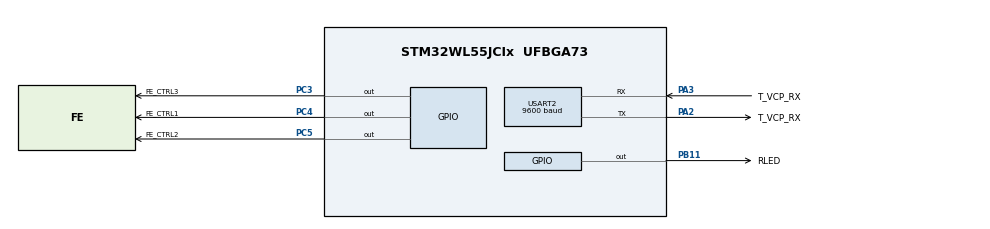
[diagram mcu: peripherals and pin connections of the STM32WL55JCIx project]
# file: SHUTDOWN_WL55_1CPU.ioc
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Mcu.Family=STM32WL
Mcu.Name=STM32WL55JCIx
Mcu.Package=UFBGA73
NVIC.PriorityGroup=NVIC_PRIORITYGROUP_4
NVIC.RTC_WKUP_IRQn=true\:0\:0\:false\:false\:true\:true\:true\:true
PA2.GPIO_Label=T_VCP_RX
PA2.Mode=Asynchronous
PA2.Signal=USART2_TX
PA3.GPIO_Label=T_VCP_RX
PA3.Mode=Asynchronous
PA3.Signal=USART2_RX
PB11.GPIO_Label=RLED
PB11.Signal=GPIO_Output
PC14-OSC32_IN.GPIO_Label=RCC_OSC32_IN
PC14-OSC32_IN.Mode=LSE-External-Oscillator
PC14-OSC32_IN.Signal=RCC_OSC32_IN
PC15-OSC32_OUT.GPIO_Label=RCC_OSC32_OUT
PC15-OSC32_OUT.Mode=LSE-External-Oscillator
PC15-OSC32_OUT.Signal=RCC_OSC32_OUT
PC3.GPIO_Label=FE_CTRL3
PC3.GPIO_Speed=GPIO_SPEED_FREQ_VERY_HIGH
PC3.Signal=GPIO_Output
PC4.GPIO_Label=FE_CTRL1
PC4.GPIO_Speed=GPIO_SPEED_FREQ_VERY_HIGH
PC4.Signal=GPIO_Output
PC5.GPIO_Label=FE_CTRL2
PC5.GPIO_Speed=GPIO_SPEED_FREQ_VERY_HIGH
PC5.Signal=GPIO_Output
ProjectManager.HeapSize=0x200
ProjectManager.StackSize=0x400
ProjectManager.TargetToolchain=STM32CubeIDE
RCC.AHBFreq_Value=48000000
RCC.APB1Freq_Value=48000000
RCC.APB1TimFreq_Value=48000000
RCC.APB2Freq_Value=48000000
RCC.APB2TimFreq_Value=48000000
RCC.APB3Freq_Value=48000000
RCC.CortexFreq_Value=48000000
RCC.HCLKFreq_Value=48000000
RCC.HSE_VALUE=32000000
RCC.HSI_VALUE=16000000
RCC.LSE_VALUE=32768
RCC.MSIAutoCalibration=DISABLED
RCC.PLLN=24
RCC.RTCClockSelection=RCC_RTCCLKSOURCE_LSE
RCC.SYSCLKFreq_VALUE=48000000
RCC.SYSCLKSource=RCC_SYSCLKSOURCE_PLLCLK
RCC.VCOOutputFreq_Value=96000000
RTC.WakeUpCounter-WakeUp=0x2800
USART2.BaudRate=9600
USART2.VirtualMode-Asynchronous=VM_ASYNC
VP_RTC_VS_RTC_Activate.Mode=RTC_Enabled
VP_RTC_VS_RTC_WakeUp_intern.Mode=WakeUp
board=NUCLEO-WL55JC1

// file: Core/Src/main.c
/* USER CODE BEGIN Header */
/**
  ******************************************************************************
  * @file           : main.c
  * @brief          : Main program body
  ******************************************************************************
  * @attention
  *
  * Copyright (c) 2025 STMicroelectronics.
  * All rights reserved.
  *
  * This software is licensed under terms that can be found in the LICENSE file
  * in the root directory of this software component.
  * If no LICENSE file comes with this software, it is provided AS-IS.
  *
  ******************************************************************************
  */
/* USER CODE END Header */
#include "main.h"

/* USER CODE BEGIN Includes */
#include <stdio.h>
/* USER CODE END Includes */

/* USER CODE BEGIN PD */
#define THREE_SECONDS 0x1800
#define FIVE_SECONDS 0x2800
/* USER CODE END PD */

RTC_HandleTypeDef hrtc;

UART_HandleTypeDef huart2;

void SystemClock_Config(void);
static void MX_GPIO_Init(void);
static void MX_RTC_Init(void);
static void MX_USART2_UART_Init(void);
/* USER CODE BEGIN PFP */
void Exit_ShutdownMode(void);
void Enter_ShutdownMode(uint16_t delay);
void RLED_Sequence(void);
/* USER CODE END PFP */

/* USER CODE BEGIN 0 */
/** @brief  Redirect the output of printf to USART2
  * @retval int
  */
int __io_putchar(int ch){
    HAL_UART_Transmit(&huart2, &ch, 1, 1000);
}

/** @brief Blink red LED and prints message when exiting Shutdown mode.
  * @retval None
  */
void Exit_ShutdownMode(void){
	printf("\t\t(Ré)Initialisation ou réveil RTC (après 5 secondes). \r\n");
	// Start red LED sequence
	RLED_Sequence();
}

/** @brief Blinking LED sequence (red)
  * @retval None
  */
void RLED_Sequence(void){
	for (int _ = 0; _ < 2; _++){
		HAL_GPIO_TogglePin(GPIOB, RLED_Pin);
		// No need of software delay because the system was already (re)initialized
		HAL_Delay(500);
	}
}

/** @brief Makes the CPU goes into Shutdown mode,
  * according to the datasheet guidance.
  * @param delay: uint16_t value representing the sleep duration in Shutdown in ms
  * @retval None
  */
void Enter_ShutdownMode(uint16_t delay){

	printf("\tLe µCU va entrer en mode Shutdown. \r\n\r\n");
	// Clock-gating the USART2 peripheral
	__HAL_RCC_USART2_CLK_SLEEP_DISABLE();
	// Set the RTC trigger to wake-up 5 seconds later
	HAL_RTCEx_SetWakeUpTimer_IT(&hrtc, delay, RTC_WAKEUPCLOCK_RTCCLK_DIV16, 0);

	/* Enter Shutdown mode */
	HAL_PWREx_EnterSHUTDOWNMode();
	/* ####----####----####----####----####
	* MCU is asleep in Shutdown mode
	* ####----####----####----####----####
	*/
}

/* USER CODE END 0 */

int main(void)
{

  /* MCU Configuration--------------------------------------------------------*/

  /* Reset of all peripherals, Initializes the Flash interface and the Systick. */
  HAL_Init();

  /* Configure the system clock */
  SystemClock_Config();

  /* Initialize all configured peripherals */
  MX_GPIO_Init();
  MX_RTC_Init();
  MX_USART2_UART_Init();
  /* USER CODE BEGIN 2 */
  Exit_ShutdownMode();

  /* USER CODE END 2 */

  /* Infinite loop */
  /* USER CODE BEGIN WHILE */
  	  printf("\r\n\r\nTest d'une appli mode veille profonde sur STM32\r\n");
  	  Enter_ShutdownMode(FIVE_SECONDS);
  while (1)
  {

    /* USER CODE END WHILE */

  }
}

void SystemClock_Config(void)
{
  RCC_OscInitTypeDef RCC_OscInitStruct = {0};
  RCC_ClkInitTypeDef RCC_ClkInitStruct = {0};

  /** Configure LSE Drive Capability
  */
  HAL_PWR_EnableBkUpAccess();
  __HAL_RCC_LSEDRIVE_CONFIG(RCC_LSEDRIVE_LOW);

  /** Configure the main internal regulator output voltage
  */
  __HAL_PWR_VOLTAGESCALING_CONFIG(PWR_REGULATOR_VOLTAGE_SCALE1);

  /** Initializes the CPU, AHB and APB buses clocks
  */
  RCC_OscInitStruct.OscillatorType = RCC_OSCILLATORTYPE_LSE|RCC_OSCILLATORTYPE_MSI;
  RCC_OscInitStruct.LSEState = RCC_LSE_ON;
  RCC_OscInitStruct.MSIState = RCC_MSI_ON;
  RCC_OscInitStruct.MSICalibrationValue = RCC_MSICALIBRATION_DEFAULT;
  RCC_OscInitStruct.MSIClockRange = RCC_MSIRANGE_6;
  RCC_OscInitStruct.PLL.PLLState = RCC_PLL_ON;
  RCC_OscInitStruct.PLL.PLLSource = RCC_PLLSOURCE_MSI;
  RCC_OscInitStruct.PLL.PLLM = RCC_PLLM_DIV1;
  RCC_OscInitStruct.PLL.PLLN = 24;
  RCC_OscInitStruct.PLL.PLLP = RCC_PLLP_DIV2;
  RCC_OscInitStruct.PLL.PLLR = RCC_PLLR_DIV2;
  RCC_OscInitStruct.PLL.PLLQ = RCC_PLLQ_DIV2;
  if (HAL_RCC_OscConfig(&RCC_OscInitStruct) != HAL_OK)
  {
    Error_Handler();
  }

  /** Configure the SYSCLKSource, HCLK, PCLK1 and PCLK2 clocks dividers
  */
  RCC_ClkInitStruct.ClockType = RCC_CLOCKTYPE_HCLK3|RCC_CLOCKTYPE_HCLK
                              |RCC_CLOCKTYPE_SYSCLK|RCC_CLOCKTYPE_PCLK1
                              |RCC_CLOCKTYPE_PCLK2;
  RCC_ClkInitStruct.SYSCLKSource = RCC_SYSCLKSOURCE_PLLCLK;
  RCC_ClkInitStruct.AHBCLKDivider = RCC_SYSCLK_DIV1;
  RCC_ClkInitStruct.APB1CLKDivider = RCC_HCLK_DIV1;
  RCC_ClkInitStruct.APB2CLKDivider = RCC_HCLK_DIV1;
  RCC_ClkInitStruct.AHBCLK3Divider = RCC_SYSCLK_DIV1;

  if (HAL_RCC_ClockConfig(&RCC_ClkInitStruct, FLASH_LATENCY_2) != HAL_OK)
  {
    Error_Handler();
  }
}

static void MX_RTC_Init(void)
{

  /** Initialize RTC Only
  */
  hrtc.Instance = RTC;
  hrtc.Init.HourFormat = RTC_HOURFORMAT_24;
  hrtc.Init.AsynchPrediv = 127;
  hrtc.Init.SynchPrediv = 255;
  hrtc.Init.OutPut = RTC_OUTPUT_DISABLE;
  hrtc.Init.OutPutRemap = RTC_OUTPUT_REMAP_NONE;
  hrtc.Init.OutPutPolarity = RTC_OUTPUT_POLARITY_HIGH;
  hrtc.Init.OutPutType = RTC_OUTPUT_TYPE_OPENDRAIN;
  hrtc.Init.OutPutPullUp = RTC_OUTPUT_PULLUP_NONE;
  hrtc.Init.BinMode = RTC_BINARY_NONE;
  if (HAL_RTC_Init(&hrtc) != HAL_OK)
  {
    Error_Handler();
  }

  /** Enable the WakeUp
  */
  if (HAL_RTCEx_SetWakeUpTimer_IT(&hrtc, 0x2800, RTC_WAKEUPCLOCK_RTCCLK_DIV16, 0) != HAL_OK)
  {
    Error_Handler();
  }

}

static void MX_USART2_UART_Init(void)
{

  huart2.Instance = USART2;
  huart2.Init.BaudRate = 9600;
  huart2.Init.WordLength = UART_WORDLENGTH_8B;
  huart2.Init.StopBits = UART_STOPBITS_1;
  huart2.Init.Parity = UART_PARITY_NONE;
  huart2.Init.Mode = UART_MODE_TX_RX;
  huart2.Init.HwFlowCtl = UART_HWCONTROL_NONE;
  huart2.Init.OverSampling = UART_OVERSAMPLING_16;
  huart2.Init.OneBitSampling = UART_ONE_BIT_SAMPLE_DISABLE;
  huart2.Init.ClockPrescaler = UART_PRESCALER_DIV1;
  huart2.AdvancedInit.AdvFeatureInit = UART_ADVFEATURE_NO_INIT;
  if (HAL_UART_Init(&huart2) != HAL_OK)
  {
    Error_Handler();
  }
  if (HAL_UARTEx_SetTxFifoThreshold(&huart2, UART_TXFIFO_THRESHOLD_1_8) != HAL_OK)
  {
    Error_Handler();
  }
  if (HAL_UARTEx_SetRxFifoThreshold(&huart2, UART_RXFIFO_THRESHOLD_1_8) != HAL_OK)
  {
    Error_Handler();
  }
  if (HAL_UARTEx_DisableFifoMode(&huart2) != HAL_OK)
  {
    Error_Handler();
  }

}

static void MX_GPIO_Init(void)
{
  GPIO_InitTypeDef GPIO_InitStruct = {0};

  /* GPIO Ports Clock Enable */
  __HAL_RCC_GPIOC_CLK_ENABLE();
  __HAL_RCC_GPIOB_CLK_ENABLE();
  __HAL_RCC_GPIOA_CLK_ENABLE();

  /*Configure GPIO pin Output Level */
  HAL_GPIO_WritePin(GPIOC, FE_CTRL3_Pin|FE_CTRL2_Pin|FE_CTRL1_Pin, GPIO_PIN_RESET);

  /*Configure GPIO pin Output Level */
  HAL_GPIO_WritePin(RLED_GPIO_Port, RLED_Pin, GPIO_PIN_RESET);

  /*Configure GPIO pins : FE_CTRL3_Pin FE_CTRL2_Pin FE_CTRL1_Pin */
  GPIO_InitStruct.Pin = FE_CTRL3_Pin|FE_CTRL2_Pin|FE_CTRL1_Pin;
  GPIO_InitStruct.Mode = GPIO_MODE_OUTPUT_PP;
  GPIO_InitStruct.Pull = GPIO_NOPULL;
  GPIO_InitStruct.Speed = GPIO_SPEED_FREQ_VERY_HIGH;
  HAL_GPIO_Init(GPIOC, &GPIO_InitStruct);

  /*Configure GPIO pin : RLED_Pin */
  GPIO_InitStruct.Pin = RLED_Pin;
  GPIO_InitStruct.Mode = GPIO_MODE_OUTPUT_PP;
  GPIO_InitStruct.Pull = GPIO_NOPULL;
  GPIO_InitStruct.Speed = GPIO_SPEED_FREQ_LOW;
  HAL_GPIO_Init(RLED_GPIO_Port, &GPIO_InitStruct);

}

void Error_Handler(void)
{
  __disable_irq();
  while (1)
  {
  }
}
